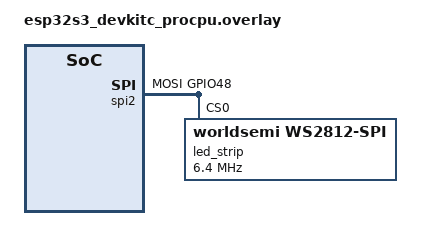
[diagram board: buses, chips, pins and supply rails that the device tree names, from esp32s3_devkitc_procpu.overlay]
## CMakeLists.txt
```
cmake_minimum_required(VERSION 3.20.0)

find_package(Zephyr REQUIRED HINTS $ENV{ZEPHYR_BASE})
project(task-scheduling)

target_sources(app PRIVATE src/main.c)
```

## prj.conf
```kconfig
CONFIG_LED_STRIP=y
CONFIG_SPI=y
CONFIG_LOG=y
CONFIG_CONSOLE_SUBSYS=y
CONFIG_CONSOLE_GETLINE=y
```

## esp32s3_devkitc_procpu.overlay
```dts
#include <zephyr/dt-bindings/led/led.h>
#include <zephyr/dt-bindings/pinctrl/esp32s3-pinctrl.h>

&pinctrl {
	spim2_ws2812: spim2_ws2812 {
		group1 {
			/* v1.0 -> GPIO48 | v1.1 -> GPIO38 */
			pinmux = <SPIM2_MOSI_GPIO48>;
			output-low;
		};
	};
};

&spi2 {
	#address-cells = <1>;
	#size-cells = <0>;
	status = "okay";
	pinctrl-0 = <&spim2_ws2812>;
	pinctrl-names = "default";
	line-idle-low;

	led_strip: ws2812@0 {
		compatible = "worldsemi,ws2812-spi";
		reg = <0>;
		spi-max-frequency = <6400000>;
		chain-length = <1>;
		spi-cpha;
		spi-one-frame = <0xf0>;
		spi-zero-frame = <0xc0>;
		color-mapping = <LED_COLOR_ID_GREEN LED_COLOR_ID_RED LED_COLOR_ID_BLUE>;
	};
};

/ {
	aliases {
		led-strip = &led_strip;
	};
};
```

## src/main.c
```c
// --------------------------------------------------------------------------
// --------------------------------------------------------------------------
// Alguns includes, defines, variáveis globais etc.
#include <stdlib.h>
#include <string.h>
#include <zephyr/kernel.h>
#include <zephyr/drivers/led_strip.h>
#include <zephyr/sys/printk.h>
#include <zephyr/console/console.h>

#define PRIORITY_BLINK 6
#define PRIORITY_READ_INPUT 5
#define STACKSIZE 1024

static const struct device *strip = DEVICE_DT_GET(DT_ALIAS(led_strip));
static volatile int sleep_delay_ms = 500;

// --------------------------------------------------------------------------
// --------------------------------------------------------------------------
// Definir thread pisca_led

void blink(void)
{
	if (!device_is_ready(strip)) {
		return;
	}

	struct led_rgb px;

    while (1) {
        px = (struct led_rgb){ .r = 0, .g = 0, .b = 40 };  /* azul */
		led_strip_update_rgb(strip, &px, 1);
		k_msleep(sleep_delay_ms);

		px = (struct led_rgb){ 0 };                         /* apagado */
		led_strip_update_rgb(strip, &px, 1);
		k_msleep(sleep_delay_ms);
    }
}

K_THREAD_DEFINE(blink0_id, STACKSIZE, blink, NULL, NULL, NULL,
		PRIORITY_BLINK, 0, 0);

// --------------------------------------------------------------------------
// --------------------------------------------------------------------------
// Definir thread que lê o input do console

void read_input(void)
{
	console_getline_init();

    while (1) {
		printk("Insira uma linha: \n");
		char *s = console_getline();

		if (atoi(s) > 0) sleep_delay_ms = atoi(s);
    }
}

K_THREAD_DEFINE(read_input_id, STACKSIZE, read_input, NULL, NULL, NULL,
		PRIORITY_READ_INPUT, 0, 0);

// --------------------------------------------------------------------------
// --------------------------------------------------------------------------
```
